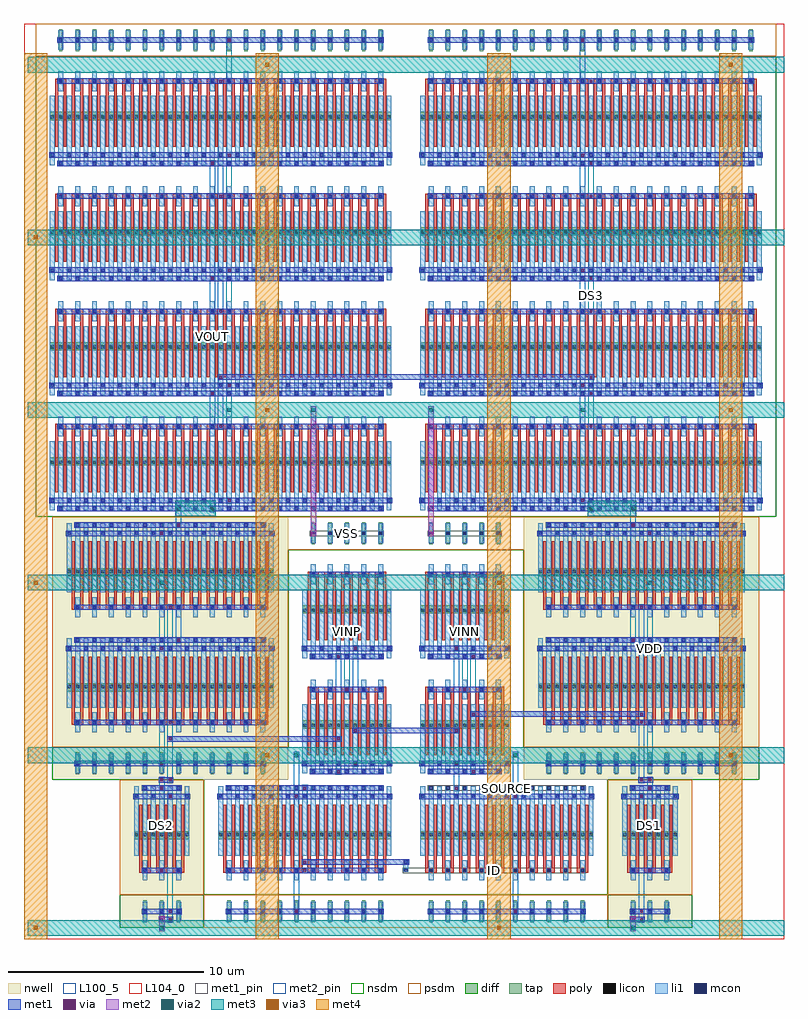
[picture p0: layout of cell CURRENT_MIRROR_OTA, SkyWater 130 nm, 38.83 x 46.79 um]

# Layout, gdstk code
import gdstk
lib = gdstk.Library(unit=1e-6, precision=1e-09)
def R(c, l, rs):  # rectangles x0, y0, x1, y1
    for r in rs: c.add(gdstk.rectangle(r[:2], r[2:], *l))
def A(c, l, x, y, w, h, nx, ny, dx, dy):  # array of equal rectangles
    R(c, l, [(x+i*dx, y+j*dy, x+i*dx+w, y+j*dy+h) for i in range(nx) for j in range(ny)])
nwell = (64, 20)
diff = (65, 20)
tap = (65, 44)
poly = (66, 20)
licon = (66, 44)
li1 = (67, 20)
mcon = (67, 44)
met1_pin = (68, 16)
met1 = (68, 20)
via = (68, 44)
met2_pin = (69, 16)
met2 = (69, 20)
via2 = (69, 44)
met3 = (70, 20)
via3 = (70, 44)
met4 = (71, 20)
nsdm = (93, 44)
psdm = (94, 20)
L100_5 = (100, 5)
L104_0 = (104, 0)

current_mirror_ota = lib.new_cell('CURRENT_MIRROR_OTA')
R(current_mirror_ota, nwell, [(4.3,0,8.6,7.56), (29.24,0,33.54,7.56), (0.86,7.56,12.9,21), (24.94,7.56,36.98,21)])
A(current_mirror_ota, diff, 0.735, 23.625, 17.45, 0.42, 1, 4, 0, 5.88)
A(current_mirror_ota, diff, 19.655, 23.625, 17.45, 0.42, 1, 4, 0, 5.88)
R(current_mirror_ota, diff, [(5.035,4.515,7.865,4.935), (9.335,4.515,18.185,4.935), (19.655,4.515,28.505,4.935), (29.975,4.515,32.805,4.935), (13.635,10.185,18.185,10.605), (19.655,10.185,24.205,10.605), (1.595,12.075,12.165,12.495), (25.675,12.075,36.245,12.495), (13.635,16.065,18.185,16.485), (19.655,16.065,24.205,16.485), (1.595,17.955,12.165,18.375), (25.675,17.955,36.245,18.375)])
A(current_mirror_ota, tap, 5.505, 0.28, 0.17, 1.12, 3, 1, 0.86, 0)
A(current_mirror_ota, tap, 9.805, 0.28, 0.17, 1.12, 10, 1, 0.86, 0)
A(current_mirror_ota, tap, 20.125, 0.28, 0.17, 1.12, 10, 1, 0.86, 0)
A(current_mirror_ota, tap, 30.445, 0.28, 0.17, 1.12, 3, 1, 0.86, 0)
A(current_mirror_ota, tap, 2.065, 7.84, 0.17, 1.12, 12, 1, 0.86, 0)
A(current_mirror_ota, tap, 26.145, 7.84, 0.17, 1.12, 12, 1, 0.86, 0)
A(current_mirror_ota, tap, 14.105, 19.6, 0.17, 1.12, 5, 1, 0.86, 0)
A(current_mirror_ota, tap, 20.125, 19.6, 0.17, 1.12, 5, 1, 0.86, 0)
A(current_mirror_ota, tap, 1.205, 44.8, 0.17, 1.12, 20, 1, 0.86, 0)
A(current_mirror_ota, tap, 20.125, 44.8, 0.17, 1.12, 20, 1, 0.86, 0)
A(current_mirror_ota, poly, 5.3, 2.805, 0.58, 0.27, 3, 1, 0.86, 0)
A(current_mirror_ota, poly, 9.6, 2.805, 0.58, 0.27, 10, 1, 0.86, 0)
A(current_mirror_ota, poly, 19.92, 2.805, 0.58, 0.27, 10, 1, 0.86, 0)
A(current_mirror_ota, poly, 30.24, 2.805, 0.58, 0.27, 3, 1, 0.86, 0)
A(current_mirror_ota, poly, 5.3, 2.94, 0.15, 3.36, 6, 1, 0.43, 0)
A(current_mirror_ota, poly, 9.6, 2.94, 0.15, 3.36, 20, 1, 0.43, 0)
A(current_mirror_ota, poly, 19.92, 2.94, 0.15, 3.36, 20, 1, 0.43, 0)
A(current_mirror_ota, poly, 30.24, 2.94, 0.15, 3.36, 6, 1, 0.43, 0)
A(current_mirror_ota, poly, 13.9, 8.82, 0.15, 3.36, 10, 2, 0.43, 5.88)
A(current_mirror_ota, poly, 19.92, 8.82, 0.15, 3.36, 10, 2, 0.43, 5.88)
A(current_mirror_ota, poly, 1.86, 10.365, 0.58, 0.27, 12, 2, 0.86, 5.88)
A(current_mirror_ota, poly, 25.94, 10.365, 0.58, 0.27, 12, 2, 0.86, 5.88)
A(current_mirror_ota, poly, 1.86, 10.5, 0.15, 3.36, 24, 2, 0.43, 5.88)
A(current_mirror_ota, poly, 25.94, 10.5, 0.15, 3.36, 24, 2, 0.43, 5.88)
A(current_mirror_ota, poly, 13.9, 12.045, 0.58, 0.27, 5, 2, 0.86, 5.88)
A(current_mirror_ota, poly, 19.92, 12.045, 0.58, 0.27, 5, 2, 0.86, 5.88)
A(current_mirror_ota, poly, 1, 22.26, 0.15, 3.36, 40, 4, 0.43, 5.88)
A(current_mirror_ota, poly, 19.92, 22.26, 0.15, 3.36, 40, 4, 0.43, 5.88)
A(current_mirror_ota, poly, 1, 25.485, 0.58, 0.27, 20, 4, 0.86, 5.88)
A(current_mirror_ota, poly, 19.92, 25.485, 0.58, 0.27, 20, 4, 0.86, 5.88)
A(current_mirror_ota, licon, 5.505, 0.755, 0.17, 0.17, 3, 2, 0.86, 2.1)
A(current_mirror_ota, licon, 9.805, 0.755, 0.17, 0.17, 10, 2, 0.86, 2.1)
A(current_mirror_ota, licon, 20.125, 0.755, 0.17, 0.17, 10, 2, 0.86, 2.1)
A(current_mirror_ota, licon, 30.445, 0.755, 0.17, 0.17, 3, 2, 0.86, 2.1)
A(current_mirror_ota, licon, 5.075, 4.685, 0.17, 0.17, 3, 2, 0.43, 7.56)
A(current_mirror_ota, licon, 5.935, 4.685, 0.17, 0.17, 3, 2, 0.43, 7.56)
A(current_mirror_ota, licon, 6.795, 4.685, 0.17, 0.17, 3, 2, 0.43, 7.56)
A(current_mirror_ota, licon, 9.375, 4.685, 0.17, 0.17, 3, 2, 0.43, 7.56)
A(current_mirror_ota, licon, 10.235, 4.685, 0.17, 0.17, 3, 2, 0.43, 7.56)
A(current_mirror_ota, licon, 11.095, 4.685, 0.17, 0.17, 3, 2, 0.43, 7.56)
A(current_mirror_ota, licon, 11.955, 4.685, 0.17, 0.17, 3, 2, 0.43, 19.02)
A(current_mirror_ota, licon, 12.815, 4.685, 0.17, 0.17, 3, 2, 0.43, 19.02)
A(current_mirror_ota, licon, 13.675, 4.685, 0.17, 0.17, 3, 2, 0.43, 5.58)
A(current_mirror_ota, licon, 14.535, 4.685, 0.17, 0.17, 3, 2, 0.43, 5.58)
A(current_mirror_ota, licon, 15.395, 4.685, 0.17, 0.17, 3, 2, 0.43, 5.58)
A(current_mirror_ota, licon, 16.255, 4.685, 0.17, 0.17, 3, 2, 0.43, 5.58)
A(current_mirror_ota, licon, 17.115, 4.685, 0.17, 0.17, 3, 2, 0.43, 5.58)
A(current_mirror_ota, licon, 19.695, 4.685, 0.17, 0.17, 3, 2, 0.43, 5.58)
A(current_mirror_ota, licon, 20.555, 4.685, 0.17, 0.17, 3, 2, 0.43, 5.58)
A(current_mirror_ota, licon, 21.415, 4.685, 0.17, 0.17, 3, 2, 0.43, 5.58)
A(current_mirror_ota, licon, 22.275, 4.685, 0.17, 0.17, 3, 2, 0.43, 5.58)
A(current_mirror_ota, licon, 23.135, 4.685, 0.17, 0.17, 3, 2, 0.43, 5.58)
A(current_mirror_ota, licon, 23.995, 4.685, 0.17, 0.17, 3, 2, 0.43, 19.02)
A(current_mirror_ota, licon, 24.855, 4.685, 0.17, 0.17, 3, 2, 0.43, 19.02)
A(current_mirror_ota, licon, 25.715, 4.685, 0.17, 0.17, 3, 2, 0.43, 7.56)
A(current_mirror_ota, licon, 26.575, 4.685, 0.17, 0.17, 3, 2, 0.43, 7.56)
A(current_mirror_ota, licon, 27.435, 4.685, 0.17, 0.17, 3, 2, 0.43, 7.56)
A(current_mirror_ota, licon, 30.015, 4.685, 0.17, 0.17, 3, 2, 0.43, 7.56)
A(current_mirror_ota, licon, 30.875, 4.685, 0.17, 0.17, 3, 2, 0.43, 7.56)
A(current_mirror_ota, licon, 31.735, 4.685, 0.17, 0.17, 3, 2, 0.43, 7.56)
A(current_mirror_ota, licon, 2.065, 10.415, 0.17, 0.17, 12, 2, 0.86, 5.88)
A(current_mirror_ota, licon, 26.145, 10.415, 0.17, 0.17, 12, 2, 0.86, 5.88)
A(current_mirror_ota, licon, 14.105, 12.095, 0.17, 0.17, 5, 2, 0.86, 5.88)
A(current_mirror_ota, licon, 20.125, 12.095, 0.17, 0.17, 5, 2, 0.86, 5.88)
A(current_mirror_ota, licon, 1.635, 12.245, 0.17, 0.17, 3, 2, 0.43, 5.88)
A(current_mirror_ota, licon, 2.495, 12.245, 0.17, 0.17, 3, 2, 0.43, 5.88)
A(current_mirror_ota, licon, 3.355, 12.245, 0.17, 0.17, 3, 2, 0.43, 5.88)
A(current_mirror_ota, licon, 4.215, 12.245, 0.17, 0.17, 3, 2, 0.43, 5.88)
A(current_mirror_ota, licon, 7.655, 12.245, 0.17, 0.17, 3, 2, 0.43, 5.88)
A(current_mirror_ota, licon, 8.515, 12.245, 0.17, 0.17, 3, 2, 0.43, 5.88)
A(current_mirror_ota, licon, 28.295, 12.245, 0.17, 0.17, 3, 2, 0.43, 5.88)
A(current_mirror_ota, licon, 29.155, 12.245, 0.17, 0.17, 3, 2, 0.43, 5.88)
A(current_mirror_ota, licon, 32.595, 12.245, 0.17, 0.17, 3, 2, 0.43, 5.88)
A(current_mirror_ota, licon, 33.455, 12.245, 0.17, 0.17, 3, 2, 0.43, 5.88)
A(current_mirror_ota, licon, 34.315, 12.245, 0.17, 0.17, 3, 2, 0.43, 5.88)
A(current_mirror_ota, licon, 35.175, 12.245, 0.17, 0.17, 3, 2, 0.43, 5.88)
A(current_mirror_ota, licon, 13.675, 16.145, 0.17, 0.17, 3, 2, 0.43, 7.56)
A(current_mirror_ota, licon, 14.535, 16.145, 0.17, 0.17, 3, 2, 0.43, 7.56)
A(current_mirror_ota, licon, 15.395, 16.145, 0.17, 0.17, 3, 2, 0.43, 7.56)
A(current_mirror_ota, licon, 16.255, 16.145, 0.17, 0.17, 3, 2, 0.43, 7.56)
A(current_mirror_ota, licon, 17.115, 16.145, 0.17, 0.17, 3, 2, 0.43, 7.56)
A(current_mirror_ota, licon, 19.695, 16.145, 0.17, 0.17, 3, 2, 0.43, 7.56)
A(current_mirror_ota, licon, 20.555, 16.145, 0.17, 0.17, 3, 2, 0.43, 7.56)
A(current_mirror_ota, licon, 21.415, 16.145, 0.17, 0.17, 3, 2, 0.43, 7.56)
A(current_mirror_ota, licon, 22.275, 16.145, 0.17, 0.17, 3, 2, 0.43, 7.56)
A(current_mirror_ota, licon, 23.135, 16.145, 0.17, 0.17, 3, 2, 0.43, 7.56)
A(current_mirror_ota, licon, 5.075, 18.125, 0.17, 0.17, 3, 2, 0.43, 5.58)
A(current_mirror_ota, licon, 5.935, 18.125, 0.17, 0.17, 3, 2, 0.43, 5.58)
A(current_mirror_ota, licon, 6.795, 18.125, 0.17, 0.17, 3, 2, 0.43, 5.58)
A(current_mirror_ota, licon, 9.375, 18.125, 0.17, 0.17, 3, 2, 0.43, 5.58)
A(current_mirror_ota, licon, 10.235, 18.125, 0.17, 0.17, 3, 2, 0.43, 5.58)
A(current_mirror_ota, licon, 11.095, 18.125, 0.17, 0.17, 3, 2, 0.43, 5.58)
A(current_mirror_ota, licon, 25.715, 18.125, 0.17, 0.17, 3, 2, 0.43, 5.58)
A(current_mirror_ota, licon, 26.575, 18.125, 0.17, 0.17, 3, 2, 0.43, 5.58)
A(current_mirror_ota, licon, 27.435, 18.125, 0.17, 0.17, 3, 2, 0.43, 5.58)
A(current_mirror_ota, licon, 30.015, 18.125, 0.17, 0.17, 3, 2, 0.43, 5.58)
A(current_mirror_ota, licon, 30.875, 18.125, 0.17, 0.17, 3, 2, 0.43, 5.58)
A(current_mirror_ota, licon, 31.735, 18.125, 0.17, 0.17, 3, 2, 0.43, 5.58)
A(current_mirror_ota, licon, 0.775, 23.705, 0.17, 0.17, 3, 4, 0.43, 5.88)
A(current_mirror_ota, licon, 1.635, 23.705, 0.17, 0.17, 3, 4, 0.43, 5.88)
A(current_mirror_ota, licon, 2.495, 23.705, 0.17, 0.17, 3, 4, 0.43, 5.88)
A(current_mirror_ota, licon, 3.355, 23.705, 0.17, 0.17, 3, 4, 0.43, 5.88)
A(current_mirror_ota, licon, 4.215, 23.705, 0.17, 0.17, 3, 4, 0.43, 5.88)
A(current_mirror_ota, licon, 7.655, 23.705, 0.17, 0.17, 3, 4, 0.43, 5.88)
A(current_mirror_ota, licon, 8.515, 23.705, 0.17, 0.17, 3, 4, 0.43, 5.88)
A(current_mirror_ota, licon, 28.295, 23.705, 0.17, 0.17, 3, 4, 0.43, 5.88)
A(current_mirror_ota, licon, 29.155, 23.705, 0.17, 0.17, 3, 4, 0.43, 5.88)
A(current_mirror_ota, licon, 32.595, 23.705, 0.17, 0.17, 3, 4, 0.43, 5.88)
A(current_mirror_ota, licon, 33.455, 23.705, 0.17, 0.17, 3, 4, 0.43, 5.88)
A(current_mirror_ota, licon, 34.315, 23.705, 0.17, 0.17, 3, 4, 0.43, 5.88)
A(current_mirror_ota, licon, 35.175, 23.705, 0.17, 0.17, 3, 4, 0.43, 5.88)
A(current_mirror_ota, licon, 36.035, 23.705, 0.17, 0.17, 3, 4, 0.43, 5.88)
A(current_mirror_ota, licon, 1.205, 25.535, 0.17, 0.17, 20, 4, 0.86, 5.88)
A(current_mirror_ota, licon, 20.125, 25.535, 0.17, 0.17, 20, 4, 0.86, 5.88)
A(current_mirror_ota, licon, 5.075, 29.585, 0.17, 0.17, 3, 3, 0.43, 5.88)
A(current_mirror_ota, licon, 5.935, 29.585, 0.17, 0.17, 3, 3, 0.43, 5.88)
A(current_mirror_ota, licon, 6.795, 29.585, 0.17, 0.17, 3, 3, 0.43, 5.88)
A(current_mirror_ota, licon, 9.375, 29.585, 0.17, 0.17, 3, 3, 0.43, 5.88)
A(current_mirror_ota, licon, 10.235, 29.585, 0.17, 0.17, 3, 3, 0.43, 5.88)
A(current_mirror_ota, licon, 11.095, 29.585, 0.17, 0.17, 3, 3, 0.43, 5.88)
A(current_mirror_ota, licon, 11.955, 29.585, 0.17, 0.17, 3, 3, 0.43, 5.88)
A(current_mirror_ota, licon, 12.815, 29.585, 0.17, 0.17, 3, 3, 0.43, 5.88)
A(current_mirror_ota, licon, 13.675, 29.585, 0.17, 0.17, 3, 3, 0.43, 5.88)
A(current_mirror_ota, licon, 14.535, 29.585, 0.17, 0.17, 3, 3, 0.43, 5.88)
A(current_mirror_ota, licon, 15.395, 29.585, 0.17, 0.17, 3, 3, 0.43, 5.88)
A(current_mirror_ota, licon, 16.255, 29.585, 0.17, 0.17, 3, 3, 0.43, 5.88)
A(current_mirror_ota, licon, 17.115, 29.585, 0.17, 0.17, 3, 3, 0.43, 5.88)
A(current_mirror_ota, licon, 19.695, 29.585, 0.17, 0.17, 3, 3, 0.43, 5.88)
A(current_mirror_ota, licon, 20.555, 29.585, 0.17, 0.17, 3, 3, 0.43, 5.88)
A(current_mirror_ota, licon, 21.415, 29.585, 0.17, 0.17, 3, 3, 0.43, 5.88)
A(current_mirror_ota, licon, 22.275, 29.585, 0.17, 0.17, 3, 3, 0.43, 5.88)
A(current_mirror_ota, licon, 23.135, 29.585, 0.17, 0.17, 3, 3, 0.43, 5.88)
A(current_mirror_ota, licon, 23.995, 29.585, 0.17, 0.17, 3, 3, 0.43, 5.88)
A(current_mirror_ota, licon, 24.855, 29.585, 0.17, 0.17, 3, 3, 0.43, 5.88)
A(current_mirror_ota, licon, 25.715, 29.585, 0.17, 0.17, 3, 3, 0.43, 5.88)
A(current_mirror_ota, licon, 26.575, 29.585, 0.17, 0.17, 3, 3, 0.43, 5.88)
A(current_mirror_ota, licon, 27.435, 29.585, 0.17, 0.17, 3, 3, 0.43, 5.88)
A(current_mirror_ota, licon, 30.015, 29.585, 0.17, 0.17, 3, 3, 0.43, 5.88)
A(current_mirror_ota, licon, 30.875, 29.585, 0.17, 0.17, 3, 3, 0.43, 5.88)
A(current_mirror_ota, licon, 31.735, 29.585, 0.17, 0.17, 3, 3, 0.43, 5.88)
R(current_mirror_ota, licon, [(2.065,8.315,2.235,8.485), (2.065,8.315,2.235,8.485), (2.925,8.315,3.095,8.485), (2.925,8.315,3.095,8.485), (3.785,8.315,3.955,8.485), (3.785,8.315,3.955,8.485), (4.645,8.315,4.815,8.485), (4.645,8.315,4.815,8.485), (5.505,8.315,5.675,8.485), (5.505,8.315,5.675,8.485), (6.365,8.315,6.535,8.485), (6.365,8.315,6.535,8.485), (7.225,8.315,7.395,8.485), (7.225,8.315,7.395,8.485), (8.085,8.315,8.255,8.485), (8.085,8.315,8.255,8.485), (8.945,8.315,9.115,8.485), (8.945,8.315,9.115,8.485), (9.805,8.315,9.975,8.485), (9.805,8.315,9.975,8.485), (10.665,8.315,10.835,8.485), (10.665,8.315,10.835,8.485), (11.525,8.315,11.695,8.485), (11.525,8.315,11.695,8.485), (26.145,8.315,26.315,8.485), (26.145,8.315,26.315,8.485), (27.005,8.315,27.175,8.485), (27.005,8.315,27.175,8.485), (27.865,8.315,28.035,8.485), (27.865,8.315,28.035,8.485), (28.725,8.315,28.895,8.485), (28.725,8.315,28.895,8.485), (29.585,8.315,29.755,8.485), (29.585,8.315,29.755,8.485), (30.445,8.315,30.615,8.485), (30.445,8.315,30.615,8.485), (31.305,8.315,31.475,8.485), (31.305,8.315,31.475,8.485), (32.165,8.315,32.335,8.485), (32.165,8.315,32.335,8.485), (33.025,8.315,33.195,8.485), (33.025,8.315,33.195,8.485), (33.885,8.315,34.055,8.485), (33.885,8.315,34.055,8.485), (34.745,8.315,34.915,8.485), (34.745,8.315,34.915,8.485), (35.605,8.315,35.775,8.485), (35.605,8.315,35.775,8.485), (14.105,20.075,14.275,20.245), (14.105,20.075,14.275,20.245), (14.965,20.075,15.135,20.245), (14.965,20.075,15.135,20.245), (15.825,20.075,15.995,20.245), (15.825,20.075,15.995,20.245), (16.685,20.075,16.855,20.245), (16.685,20.075,16.855,20.245), (17.545,20.075,17.715,20.245), (17.545,20.075,17.715,20.245), (20.125,20.075,20.295,20.245), (20.125,20.075,20.295,20.245), (20.985,20.075,21.155,20.245), (20.985,20.075,21.155,20.245), (21.845,20.075,22.015,20.245), (21.845,20.075,22.015,20.245), (22.705,20.075,22.875,20.245), (22.705,20.075,22.875,20.245), (23.565,20.075,23.735,20.245), (23.565,20.075,23.735,20.245), (1.205,45.275,1.375,45.445), (1.205,45.275,1.375,45.445), (1.205,45.275,1.375,45.445), (1.205,45.275,1.375,45.445), (2.065,45.275,2.235,45.445), (2.065,45.275,2.235,45.445), (2.065,45.275,2.235,45.445), (2.065,45.275,2.235,45.445), (2.925,45.275,3.095,45.445), (2.925,45.275,3.095,45.445), (2.925,45.275,3.095,45.445), (2.925,45.275,3.095,45.445), (3.785,45.275,3.955,45.445), (3.785,45.275,3.955,45.445), (3.785,45.275,3.955,45.445), (3.785,45.275,3.955,45.445), (4.645,45.275,4.815,45.445), (4.645,45.275,4.815,45.445), (4.645,45.275,4.815,45.445), (4.645,45.275,4.815,45.445), (5.505,45.275,5.675,45.445), (5.505,45.275,5.675,45.445), (5.505,45.275,5.675,45.445), (5.505,45.275,5.675,45.445), (6.365,45.275,6.535,45.445), (6.365,45.275,6.535,45.445), (6.365,45.275,6.535,45.445), (6.365,45.275,6.535,45.445), (7.225,45.275,7.395,45.445), (7.225,45.275,7.395,45.445), (7.225,45.275,7.395,45.445), (7.225,45.275,7.395,45.445), (8.085,45.275,8.255,45.445), (8.085,45.275,8.255,45.445), (8.085,45.275,8.255,45.445), (8.085,45.275,8.255,45.445), (8.945,45.275,9.115,45.445), (8.945,45.275,9.115,45.445), (8.945,45.275,9.115,45.445), (8.945,45.275,9.115,45.445), (9.805,45.275,9.975,45.445), (9.805,45.275,9.975,45.445), (9.805,45.275,9.975,45.445), (9.805,45.275,9.975,45.445), (10.665,45.275,10.835,45.445), (10.665,45.275,10.835,45.445), (10.665,45.275,10.835,45.445), (10.665,45.275,10.835,45.445), (11.525,45.275,11.695,45.445), (11.525,45.275,11.695,45.445), (11.525,45.275,11.695,45.445), (11.525,45.275,11.695,45.445), (12.385,45.275,12.555,45.445), (12.385,45.275,12.555,45.445), (12.385,45.275,12.555,45.445), (12.385,45.275,12.555,45.445), (13.245,45.275,13.415,45.445), (13.245,45.275,13.415,45.445), (13.245,45.275,13.415,45.445), (13.245,45.275,13.415,45.445), (14.105,45.275,14.275,45.445), (14.105,45.275,14.275,45.445), (14.105,45.275,14.275,45.445), (14.105,45.275,14.275,45.445), (14.965,45.275,15.135,45.445), (14.965,45.275,15.135,45.445), (14.965,45.275,15.135,45.445), (14.965,45.275,15.135,45.445), (15.825,45.275,15.995,45.445), (15.825,45.275,15.995,45.445), (15.825,45.275,15.995,45.445), (15.825,45.275,15.995,45.445), (16.685,45.275,16.855,45.445), (16.685,45.275,16.855,45.445), (16.685,45.275,16.855,45.445), (16.685,45.275,16.855,45.445), (17.545,45.275,17.715,45.445), (17.545,45.275,17.715,45.445), (17.545,45.275,17.715,45.445), (17.545,45.275,17.715,45.445), (20.125,45.275,20.295,45.445), (20.125,45.275,20.295,45.445), (20.125,45.275,20.295,45.445), (20.125,45.275,20.295,45.445), (20.985,45.275,21.155,45.445), (20.985,45.275,21.155,45.445), (20.985,45.275,21.155,45.445), (20.985,45.275,21.155,45.445), (21.845,45.275,22.015,45.445), (21.845,45.275,22.015,45.445), (21.845,45.275,22.015,45.445), (21.845,45.275,22.015,45.445), (22.705,45.275,22.875,45.445), (22.705,45.275,22.875,45.445), (22.705,45.275,22.875,45.445), (22.705,45.275,22.875,45.445), (23.565,45.275,23.735,45.445), (23.565,45.275,23.735,45.445), (23.565,45.275,23.735,45.445), (23.565,45.275,23.735,45.445), (24.425,45.275,24.595,45.445), (24.425,45.275,24.595,45.445), (24.425,45.275,24.595,45.445), (24.425,45.275,24.595,45.445), (25.285,45.275,25.455,45.445), (25.285,45.275,25.455,45.445), (25.285,45.275,25.455,45.445), (25.285,45.275,25.455,45.445), (26.145,45.275,26.315,45.445), (26.145,45.275,26.315,45.445), (26.145,45.275,26.315,45.445), (26.145,45.275,26.315,45.445), (27.005,45.275,27.175,45.445), (27.005,45.275,27.175,45.445), (27.005,45.275,27.175,45.445), (27.005,45.275,27.175,45.445), (27.865,45.275,28.035,45.445), (27.865,45.275,28.035,45.445), (27.865,45.275,28.035,45.445), (27.865,45.275,28.035,45.445), (28.725,45.275,28.895,45.445), (28.725,45.275,28.895,45.445), (28.725,45.275,28.895,45.445), (28.725,45.275,28.895,45.445), (29.585,45.275,29.755,45.445), (29.585,45.275,29.755,45.445), (29.585,45.275,29.755,45.445), (29.585,45.275,29.755,45.445), (30.445,45.275,30.615,45.445), (30.445,45.275,30.615,45.445), (30.445,45.275,30.615,45.445), (30.445,45.275,30.615,45.445), (31.305,45.275,31.475,45.445), (31.305,45.275,31.475,45.445), (31.305,45.275,31.475,45.445), (31.305,45.275,31.475,45.445), (32.165,45.275,32.335,45.445), (32.165,45.275,32.335,45.445), (32.165,45.275,32.335,45.445), (32.165,45.275,32.335,45.445), (33.025,45.275,33.195,45.445), (33.025,45.275,33.195,45.445), (33.025,45.275,33.195,45.445), (33.025,45.275,33.195,45.445), (33.885,45.275,34.055,45.445), (33.885,45.275,34.055,45.445), (33.885,45.275,34.055,45.445), (33.885,45.275,34.055,45.445), (34.745,45.275,34.915,45.445), (34.745,45.275,34.915,45.445), (34.745,45.275,34.915,45.445), (34.745,45.275,34.915,45.445), (35.605,45.275,35.775,45.445), (35.605,45.275,35.775,45.445), (35.605,45.275,35.775,45.445), (35.605,45.275,35.775,45.445), (36.465,45.275,36.635,45.445), (36.465,45.275,36.635,45.445), (36.465,45.275,36.635,45.445), (36.465,45.275,36.635,45.445)])
A(current_mirror_ota, li1, 5.465, 0.335, 0.25, 1.01, 3, 2, 0.86, 2.1)
A(current_mirror_ota, li1, 9.765, 0.335, 0.25, 1.01, 10, 2, 0.86, 2.1)
A(current_mirror_ota, li1, 20.085, 0.335, 0.25, 1.01, 10, 2, 0.86, 2.1)
A(current_mirror_ota, li1, 30.405, 0.335, 0.25, 1.01, 3, 2, 0.86, 2.1)
A(current_mirror_ota, li1, 5.035, 3.695, 0.25, 3.53, 7, 1, 0.43, 0)
A(current_mirror_ota, li1, 9.335, 3.695, 0.25, 3.53, 21, 1, 0.43, 0)
A(current_mirror_ota, li1, 19.655, 3.695, 0.25, 3.53, 21, 1, 0.43, 0)
A(current_mirror_ota, li1, 29.975, 3.695, 0.25, 3.53, 7, 1, 0.43, 0)
A(current_mirror_ota, li1, 2.025, 7.895, 0.25, 1.01, 12, 2, 0.86, 2.1)
A(current_mirror_ota, li1, 13.635, 7.895, 0.25, 3.53, 11, 2, 0.43, 5.88)
A(current_mirror_ota, li1, 19.655, 7.895, 0.25, 3.53, 11, 2, 0.43, 5.88)
A(current_mirror_ota, li1, 26.105, 7.895, 0.25, 1.01, 12, 2, 0.86, 2.1)
A(current_mirror_ota, li1, 1.595, 11.255, 0.25, 3.53, 25, 2, 0.43, 5.88)
A(current_mirror_ota, li1, 25.675, 11.255, 0.25, 3.53, 25, 2, 0.43, 5.88)
A(current_mirror_ota, li1, 14.065, 11.675, 0.25, 1.01, 5, 2, 0.86, 5.88)
A(current_mirror_ota, li1, 20.085, 11.675, 0.25, 1.01, 5, 2, 0.86, 5.88)
A(current_mirror_ota, li1, 2.025, 15.875, 0.25, 1.01, 12, 1, 0.86, 0)
A(current_mirror_ota, li1, 26.105, 15.875, 0.25, 1.01, 12, 1, 0.86, 0)
A(current_mirror_ota, li1, 14.065, 19.655, 0.25, 1.01, 5, 1, 0.86, 0)
A(current_mirror_ota, li1, 20.085, 19.655, 0.25, 1.01, 5, 1, 0.86, 0)
A(current_mirror_ota, li1, 0.735, 21.335, 0.25, 3.53, 41, 4, 0.43, 5.88)
A(current_mirror_ota, li1, 19.655, 21.335, 0.25, 3.53, 41, 4, 0.43, 5.88)
A(current_mirror_ota, li1, 1.165, 25.115, 0.25, 1.01, 20, 4, 0.86, 5.88)
A(current_mirror_ota, li1, 20.085, 25.115, 0.25, 1.01, 20, 4, 0.86, 5.88)
A(current_mirror_ota, li1, 1.165, 44.855, 0.25, 1.01, 20, 1, 0.86, 0)
A(current_mirror_ota, li1, 20.085, 44.855, 0.25, 1.01, 20, 1, 0.86, 0)
R(current_mirror_ota, li1, [(18.795,2.855,19.045,3.445)])
A(current_mirror_ota, mcon, 5.505, 0.755, 0.17, 0.17, 3, 2, 0.86, 2.1)
A(current_mirror_ota, mcon, 9.805, 0.755, 0.17, 0.17, 10, 2, 0.86, 2.1)
A(current_mirror_ota, mcon, 20.125, 0.755, 0.17, 0.17, 10, 2, 0.86, 2.1)
A(current_mirror_ota, mcon, 30.445, 0.755, 0.17, 0.17, 3, 2, 0.86, 2.1)
A(current_mirror_ota, mcon, 5.075, 6.635, 0.17, 0.17, 4, 1, 0.86, 0)
A(current_mirror_ota, mcon, 9.375, 6.635, 0.17, 0.17, 11, 1, 0.86, 0)
A(current_mirror_ota, mcon, 19.695, 6.635, 0.17, 0.17, 11, 1, 0.86, 0)
A(current_mirror_ota, mcon, 30.015, 6.635, 0.17, 0.17, 4, 1, 0.86, 0)
A(current_mirror_ota, mcon, 5.505, 7.055, 0.17, 0.17, 3, 1, 0.86, 0)
A(current_mirror_ota, mcon, 9.805, 7.055, 0.17, 0.17, 10, 1, 0.86, 0)
A(current_mirror_ota, mcon, 20.125, 7.055, 0.17, 0.17, 10, 1, 0.86, 0)
A(current_mirror_ota, mcon, 30.445, 7.055, 0.17, 0.17, 3, 1, 0.86, 0)
A(current_mirror_ota, mcon, 14.105, 7.895, 0.17, 0.17, 5, 2, 0.86, 4.2)
A(current_mirror_ota, mcon, 20.125, 7.895, 0.17, 0.17, 5, 2, 0.86, 4.2)
A(current_mirror_ota, mcon, 2.065, 8.315, 0.17, 0.17, 12, 2, 0.86, 2.1)
A(current_mirror_ota, mcon, 13.675, 8.315, 0.17, 0.17, 6, 2, 0.86, 5.88)
A(current_mirror_ota, mcon, 19.695, 8.315, 0.17, 0.17, 6, 2, 0.86, 5.88)
A(current_mirror_ota, mcon, 26.145, 8.315, 0.17, 0.17, 12, 2, 0.86, 2.1)
A(current_mirror_ota, mcon, 14.105, 13.775, 0.17, 0.17, 5, 2, 0.86, 4.2)
A(current_mirror_ota, mcon, 20.125, 13.775, 0.17, 0.17, 5, 2, 0.86, 4.2)
A(current_mirror_ota, mcon, 1.635, 14.195, 0.17, 0.17, 13, 2, 0.86, 5.88)
A(current_mirror_ota, mcon, 25.715, 14.195, 0.17, 0.17, 13, 2, 0.86, 5.88)
A(current_mirror_ota, mcon, 2.065, 14.615, 0.17, 0.17, 12, 2, 0.86, 1.68)
A(current_mirror_ota, mcon, 26.145, 14.615, 0.17, 0.17, 12, 2, 0.86, 1.68)
A(current_mirror_ota, mcon, 14.105, 20.075, 0.17, 0.17, 5, 1, 0.86, 0)
A(current_mirror_ota, mcon, 20.125, 20.075, 0.17, 0.17, 5, 1, 0.86, 0)
A(current_mirror_ota, mcon, 2.065, 20.495, 0.17, 0.17, 12, 1, 0.86, 0)
A(current_mirror_ota, mcon, 26.145, 20.495, 0.17, 0.17, 12, 1, 0.86, 0)
A(current_mirror_ota, mcon, 1.205, 21.335, 0.17, 0.17, 20, 2, 0.86, 4.2)
A(current_mirror_ota, mcon, 20.125, 21.335, 0.17, 0.17, 20, 2, 0.86, 4.2)
A(current_mirror_ota, mcon, 0.775, 21.755, 0.17, 0.17, 21, 4, 0.86, 5.88)
A(current_mirror_ota, mcon, 19.695, 21.755, 0.17, 0.17, 21, 4, 0.86, 5.88)
A(current_mirror_ota, mcon, 1.205, 27.215, 0.17, 0.17, 20, 2, 0.86, 4.2)
A(current_mirror_ota, mcon, 20.125, 27.215, 0.17, 0.17, 20, 2, 0.86, 4.2)
A(current_mirror_ota, mcon, 1.205, 33.095, 0.17, 0.17, 20, 2, 0.86, 4.2)
A(current_mirror_ota, mcon, 20.125, 33.095, 0.17, 0.17, 20, 2, 0.86, 4.2)
A(current_mirror_ota, mcon, 1.205, 38.975, 0.17, 0.17, 20, 2, 0.86, 4.2)
A(current_mirror_ota, mcon, 20.125, 38.975, 0.17, 0.17, 20, 2, 0.86, 4.2)
A(current_mirror_ota, mcon, 1.205, 45.275, 0.17, 0.17, 20, 1, 0.86, 0)
A(current_mirror_ota, mcon, 20.125, 45.275, 0.17, 0.17, 20, 1, 0.86, 0)
R(current_mirror_ota, mcon, [(18.835,2.855,19.005,3.025), (18.835,3.275,19.005,3.445)])
R(current_mirror_ota, met1_pin, [(18.75,2.8,28.12,3.08), (20.04,7,28.12,7.28), (14.02,20.02,17.8,20.3), (20.04,20.02,23.82,20.3)])
A(current_mirror_ota, met1, 0.69, 21.7, 17.54, 0.28, 1, 4, 0, 5.88)
A(current_mirror_ota, met1, 19.61, 21.7, 17.54, 0.28, 1, 4, 0, 5.88)
R(current_mirror_ota, met1, [(6.29,0.28,7.04,0.56), (30.37,0.28,31.12,0.56), (5.42,0.7,7.48,0.98), (9.72,0.7,17.8,0.98), (20.04,0.7,28.12,0.98), (30.36,0.7,32.42,0.98), (5.42,2.8,7.48,3.08), (9.72,2.8,17.8,3.08), (30.36,2.8,32.42,3.08), (13.6,3.22,19.09,3.5), (4.99,6.58,7.91,6.86), (9.29,6.58,18.23,6.86), (19.61,6.58,28.55,6.86), (29.93,6.58,32.85,6.86), (5.42,7,7.48,7.28), (9.72,7,17.8,7.28), (30.36,7,32.42,7.28), (6.29,7.42,7.04,7.7), (30.8,7.42,31.55,7.7), (14.02,7.84,17.8,8.12), (20.04,7.84,23.82,8.12), (1.98,8.26,11.78,8.54), (13.59,8.26,18.23,8.54), (19.61,8.26,24.25,8.54), (26.06,8.26,35.86,8.54), (6.72,9.52,15.64,9.8), (16.18,9.94,21.66,10.22), (1.98,10.36,11.78,10.64), (26.06,10.36,35.86,10.64), (22.2,10.78,31.12,11.06), (14.02,12.04,17.8,12.32), (20.04,12.04,23.82,12.32), (14.02,13.72,17.8,14), (20.04,13.72,23.82,14), (1.55,14.14,12.21,14.42), (13.59,14.14,18.23,14.42), (19.61,14.14,24.25,14.42), (25.63,14.14,36.29,14.42), (1.98,14.56,11.78,14.84), (26.06,14.56,35.86,14.84), (1.98,16.24,11.78,16.52), (26.06,16.24,35.86,16.52), (14.02,17.92,17.8,18.2), (20.04,17.92,23.82,18.2), (1.55,20.02,12.21,20.3), (25.63,20.02,36.29,20.3), (1.98,20.44,11.78,20.72), (26.06,20.44,35.86,20.72), (1.12,21.28,17.8,21.56), (20.04,21.28,36.72,21.56), (1.12,25.48,17.8,25.76), (20.04,25.48,36.72,25.76), (1.12,27.16,17.8,27.44), (20.04,27.16,36.72,27.44), (9.3,28,28.54,28.28), (1.12,31.36,17.8,31.64), (20.04,31.36,36.72,31.64), (1.12,33.04,17.8,33.32), (20.04,33.04,36.72,33.32), (1.12,37.24,17.8,37.52), (20.04,37.24,36.72,37.52), (1.12,38.92,17.8,39.2), (20.04,38.92,36.72,39.2), (1.12,43.12,17.8,43.4), (20.04,43.12,36.72,43.4), (1.12,45.22,17.8,45.5), (20.04,45.22,36.72,45.5)])
A(current_mirror_ota, via, 22.285, 7.905, 0.15, 0.15, 1, 3, 0, 2.94)
A(current_mirror_ota, via, 6.375, 8.325, 0.15, 0.15, 1, 3, 0, 5.88)
A(current_mirror_ota, via, 31.315, 8.325, 0.15, 0.15, 1, 3, 0, 5.88)
A(current_mirror_ota, via, 8.955, 21.345, 0.15, 0.15, 1, 4, 0, 5.88)
A(current_mirror_ota, via, 9.815, 21.765, 0.15, 0.15, 1, 5, 0, 5.88)
A(current_mirror_ota, via, 27.875, 21.765, 0.15, 0.15, 1, 5, 0, 5.88)
A(current_mirror_ota, via, 9.385, 31.425, 0.15, 0.15, 1, 3, 0, 5.88)
R(current_mirror_ota, via, [(6.375,0.345,6.525,0.495), (6.805,0.345,6.955,0.495), (30.455,0.345,30.605,0.495), (30.885,0.345,31.035,0.495), (6.805,0.765,6.955,0.915), (13.255,0.765,13.405,0.915), (24.435,0.765,24.585,0.915), (30.885,0.765,31.035,0.915), (6.375,2.865,6.525,3.015), (13.685,2.865,13.835,3.015), (31.315,2.865,31.465,3.015), (13.685,3.285,13.835,3.435), (6.805,6.645,6.955,6.795), (13.255,6.645,13.405,6.795), (24.435,6.645,24.585,6.795), (30.885,6.645,31.035,6.795), (6.375,7.065,6.525,7.215), (13.685,7.065,13.835,7.215), (21.425,7.065,21.575,7.215), (31.315,7.065,31.465,7.215), (6.375,7.485,6.525,7.635), (6.805,7.485,6.955,7.635), (30.885,7.485,31.035,7.635), (31.315,7.485,31.465,7.635), (15.405,7.905,15.555,8.055), (16.265,8.325,16.415,8.475), (21.425,8.325,21.575,8.475), (6.805,9.585,6.955,9.735), (15.405,9.585,15.555,9.735), (16.265,10.005,16.415,10.155), (21.425,10.005,21.575,10.155), (6.805,10.425,6.955,10.575), (30.885,10.425,31.035,10.575), (30.885,10.845,31.035,10.995), (15.835,12.105,15.985,12.255), (21.855,12.105,22.005,12.255), (15.405,13.785,15.555,13.935), (16.265,14.205,16.415,14.355), (21.425,14.205,21.575,14.355), (7.235,14.625,7.385,14.775), (30.455,14.625,30.605,14.775), (6.805,16.305,6.955,16.455), (30.885,16.305,31.035,16.455), (15.835,17.985,15.985,18.135), (21.855,17.985,22.005,18.135), (14.115,20.085,14.265,20.235), (20.135,20.085,20.285,20.235), (7.235,20.505,7.385,20.655), (30.455,20.505,30.605,20.655), (28.305,21.345,28.455,21.495), (9.385,25.545,9.535,25.695), (28.305,25.545,28.455,25.695), (28.305,27.225,28.455,27.375), (9.385,28.065,9.535,28.215), (28.305,28.065,28.455,28.215), (28.305,31.425,28.455,31.575), (28.305,33.105,28.455,33.255), (28.305,37.305,28.455,37.455), (28.305,38.985,28.455,39.135), (28.305,43.185,28.455,43.335)])
R(current_mirror_ota, met2_pin, [(6.74,0.26,7.02,6.88), (30.82,0.26,31.1,6.88), (13.19,0.68,13.47,9.005), (24.37,0.68,24.65,9.005), (6.31,2.78,6.59,7.72), (13.62,2.78,13.9,7.3), (31.25,2.78,31.53,7.72), (21.36,6.98,21.64,14.44), (6.74,7.4,7.02,16.54), (30.82,7.4,31.1,16.54), (15.34,7.82,15.62,14.02), (22.22,7.82,22.5,14.02), (6.31,8.24,6.59,20.32), (16.2,8.24,16.48,14.44), (31.25,8.24,31.53,20.32), (15.77,12.02,16.05,18.22), (21.79,12.02,22.07,18.22), (7.17,14.54,7.45,21.605), (30.39,14.54,30.67,21.605), (8.89,21.235,9.17,39.22), (28.24,21.235,28.52,43.42), (9.75,21.68,10.03,45.52), (27.81,21.68,28.09,45.52), (9.32,25.46,9.6,43.42)])
R(current_mirror_ota, met2, [(6.31,-0.185,6.59,0.58), (30.39,-0.185,30.67,0.58), (14.05,20,14.33,26.645), (20.07,20,20.35,26.645)])
R(current_mirror_ota, via2, [(6.35,-0.1,6.55,0.1), (30.43,-0.1,30.63,0.1), (13.23,8.72,13.43,8.92), (24.41,8.72,24.61,8.92), (6.35,17.54,6.55,17.74), (31.29,17.54,31.49,17.74), (7.21,21.32,7.41,21.52), (8.93,21.32,9.13,21.52), (28.28,21.32,28.48,21.52), (30.43,21.32,30.63,21.52), (9.79,26.36,9.99,26.56), (14.09,26.36,14.29,26.56), (20.11,26.36,20.31,26.56), (27.85,26.36,28.05,26.56)])
A(current_mirror_ota, met3, -0.4, -0.4, 38.64, 0.8, 1, 6, 0, 8.82)
R(current_mirror_ota, met3, [(7.145,21.02,9.195,21.82), (28.215,21.02,30.695,21.82)])
A(current_mirror_ota, via3, -0.1, -0.1, 0.2, 0.2, 1, 3, 0, 17.64)
A(current_mirror_ota, via3, 23.58, -0.1, 0.2, 0.2, 1, 3, 0, 17.64)
A(current_mirror_ota, via3, 11.74, 8.72, 0.2, 0.2, 1, 3, 0, 17.64)
A(current_mirror_ota, via3, 35.42, 8.72, 0.2, 0.2, 1, 3, 0, 17.64)
A(current_mirror_ota, met4, -0.59, -0.59, 1.18, 45.28, 4, 1, 11.84, 0)
R(current_mirror_ota, nsdm, [(4.3,0,8.6,1.68), (29.24,0,33.54,1.68), (8.6,1.68,18.92,7.56), (18.92,1.68,29.24,7.56), (0.86,7.56,12.9,9.24), (12.9,7.56,18.92,19.32), (18.92,7.56,24.94,19.32), (24.94,7.56,36.98,9.24), (0,21,18.92,44.52), (18.92,21,37.84,44.52)])
R(current_mirror_ota, psdm, [(8.6,0,18.92,1.68), (18.92,0,29.24,1.68), (4.3,1.68,8.6,7.56), (29.24,1.68,33.54,7.56), (0.86,9.24,12.9,21), (24.94,9.24,36.98,21), (12.9,19.32,18.92,21), (18.92,19.32,24.94,21), (0,44.52,18.92,46.2), (18.92,44.52,37.84,46.2)])
R(current_mirror_ota, L100_5, [(-0.59,-0.59,38.24,46.2)])
R(current_mirror_ota, L104_0, [(-0.59,-0.59,38.24,46.2)])
current_mirror_ota.add(gdstk.Label('ID', (23.435,2.94), layer=68, texttype=5))
current_mirror_ota.add(gdstk.Label('SOURCE', (24.08,7.14), layer=68, texttype=5))
current_mirror_ota.add(gdstk.Label('VSS', (15.91,20.16), layer=68, texttype=5))
current_mirror_ota.add(gdstk.Label('DS3', (28.38,32.327), layer=69, texttype=5))
current_mirror_ota.add(gdstk.Label('DS1', (31.39,5.25), layer=69, texttype=5))
current_mirror_ota.add(gdstk.Label('VDD', (31.39,14.28), layer=69, texttype=5))
current_mirror_ota.add(gdstk.Label('DS2', (6.45,5.25), layer=69, texttype=5))
current_mirror_ota.add(gdstk.Label('VOUT', (9.03,30.227), layer=69, texttype=5))
current_mirror_ota.add(gdstk.Label('VINN', (21.93,15.12), layer=69, texttype=5))
current_mirror_ota.add(gdstk.Label('VINP', (15.91,15.12), layer=69, texttype=5))

lib.write_gds('CURRENT_MIRROR_OTA.gds')
